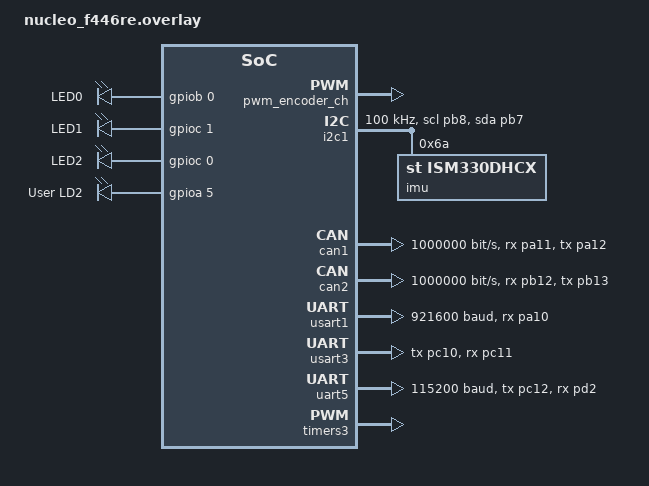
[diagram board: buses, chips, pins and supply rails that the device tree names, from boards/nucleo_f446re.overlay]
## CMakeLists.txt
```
cmake_minimum_required(VERSION 3.20.0)
find_package(Zephyr REQUIRED HINTS $ENV{ZEPHYR_BASE})
project(Testbench)

add_subdirectory(${CMAKE_CURRENT_SOURCE_DIR}/../../core core_build)

target_sources(app PRIVATE src/testbench.cpp)
target_include_directories(app PRIVATE ${CMAKE_CURRENT_SOURCE_DIR}/../../core)

# Otherwise has trouble getting core since it's up a level on the directory
target_link_libraries(app PRIVATE core)
target_compile_definitions(core PRIVATE REF_DEBUG=1)
```

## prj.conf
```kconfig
CONFIG_MAIN_STACK_SIZE=8192

# enable GPIO subsystem
CONFIG_GPIO=y

# SWO logging
CONFIG_LOG=y
CONFIG_LOG_BACKEND_SWO=y
# Logs go to SWO only, not the console UART, will not show in serial monitor
CONFIG_LOG_BACKEND_UART=n
# Route printk through logging (and so to SWO)
CONFIG_LOG_PRINTK=y
# Don't block the 500 Hz control loop
CONFIG_LOG_MODE_DEFERRED=y
# 1.5 MHz, must match the SWO setting in Ozone
CONFIG_LOG_BACKEND_SWO_FREQ_HZ=1500000
# Needed for %f in LOG_* and printk
CONFIG_CBPRINTF_FP_SUPPORT=y

# C++ config
CONFIG_CPP=y
CONFIG_STD_CPP17=y
CONFIG_GLIBCXX_LIBCPP=y

# CAN
CONFIG_CAN=y

# UART
CONFIG_SERIAL=y
CONFIG_UART_INTERRUPT_DRIVEN=y

# I2C
CONFIG_I2C=y
CONFIG_I2C_TARGET=y
# CONFIG_I2C_LOG_LEVEL_DBG=y
CONFIG_ISM330DHCX=n
CONFIG_CBPRINTF_FP_SUPPORT=y

# PWM
CONFIG_PWM=y
CONFIG_PWM_CAPTURE=y
CONFIG_PWM_LOG_LEVEL_DBG=y


# Power Management
CONFIG_PM=n
CONFIG_PM_DEVICE=y

# Asserts
CONFIG_ASSERT=y

CONFIG_HW_STACK_PROTECTION=y
CONFIG_MPU_STACK_GUARD=y

# CONFIG_THREAD_STACK_INFO=y
# CONFIG_THREAD_ANALYZER=y
# CONFIG_THREAD_ANALYZER_AUTO=y
# CONFIG_THREAD_ANALYZER_AUTO_INTERVAL=5

# These will flood your log output with messages. Be aware.
CONFIG_I2C_LOG_LEVEL_ERR=n
CONFIG_CAN_LOG_LEVEL_DBG=n

# CONFIG_SHELL=y
CONFIG_UART_LINE_CTRL=y

CONFIG_HEAP_MEM_POOL_SIZE=8192
```

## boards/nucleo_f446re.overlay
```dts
/* Board default puts I2C2 SDA on PB3, which is the SWO pin. Disable I2C2 so SWO can use PB3. */
&i2c2 {
    status = "disabled";
};

&i2c1 {
    pinctrl-0 = <&i2c1_scl_pb8 &i2c1_sda_pb7>;
    pinctrl-names = "default";
    status = "okay";
    clock-frequency = <100000>;

	scl-gpios = <&gpiob 8 (GPIO_ACTIVE_HIGH | GPIO_OPEN_DRAIN)>;
	sda-gpios = <&gpiob 7 (GPIO_ACTIVE_HIGH | GPIO_OPEN_DRAIN)>;


    imu: ism330@6a {
        compatible = "st,ism330dhcx";
        reg = <0x6a>;
    };
};

&can1 {
    pinctrl-0 = <&can1_rx_pa11 &can1_tx_pa12>;
    pinctrl-names = "default";
    status = "okay";
    bitrate = <1000000>;
};

&can2 {
    pinctrl-0 = <&can2_rx_pb12 &can2_tx_pb13>;
    pinctrl-names = "default";
    status = "okay";
    bitrate = <1000000>;
};

&usart1 { //Controller
    pinctrl-0 = <&usart1_rx_pa10>; // tx isn't connected because this is the controller
    pinctrl-names = "default";
    status = "okay";
    current-speed = <921600>;
};

&usart3 { //Ref
    pinctrl-0 = <&usart3_tx_pc10 &usart3_rx_pc11>;
    pinctrl-names = "default";
    status = "okay";
};

&uart5 {
    pinctrl-0 = <&uart5_tx_pc12 &uart5_rx_pd2>;
    pinctrl-names = "default";
    status = "okay";
    current-speed = <115200>;
};

&timers3 { // Encoder | PWM is done thru timer node, PB_4 is timer3 channel 1
    status = "okay";
    st,prescaler = <3>;   // This decides how coarse the ticks are; see notion for details

    pwm3: pwm {
        compatible = "st,stm32-pwm";
        status = "okay";
        pinctrl-0 = <&tim3_ch1_pb4>;
        pinctrl-names = "default";
        #pwm-cells = <3>;
    };
};

/ {
    pwm_encoder_ch: zephyr,user { //Node has to be named "zephyr,user" so it compiles
        pwms = <&pwm3 1 PWM_MSEC(20) PWM_POLARITY_NORMAL>;
        status = "okay";
    };
};


/* The sigular slash below indicates that we're just making a new node
Unlike the ones above, which were already declared for us in the
root dts file Zephyr has for us, this LED node is specific to us */
/ {
    leds {
        compatible = "gpio-leds";
        led0: led_0 {
            gpios = <&gpiob 0 GPIO_ACTIVE_HIGH>;
            label = "LED0";
        };
        led1: led_1 {
            gpios = <&gpioc 1 GPIO_ACTIVE_HIGH>;
            label = "LED1";
        };
        led2: led_2 {
            gpios = <&gpioc 0 GPIO_ACTIVE_HIGH>;
            label = "LED2";
        };

        LD2: LD_2 {
            gpios = <&gpioa 5 GPIO_ACTIVE_HIGH>;
            label = "User LD2";
        };
    };

    aliases {
        //Left hand side lives in a diff namespace than right hand side
        //So this doesn't break everything I swear
        led0 = &led0;
        led1 = &led1;
        led2 = &led2;
    };
};

  &gpiob {
       status = "okay";
   };

   &gpioc {
       status = "okay";
   };

//    Disabled ones

&i2c3 {
	status = "disabled";
};
```

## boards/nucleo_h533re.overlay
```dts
&fdcan1 {
    status = "okay";
    pinctrl-0 = <&fdcan1_rx_pb8 &fdcan1_tx_pb7>;
    pinctrl-names = "default";
    bitrate = <1000000>;
};

&fdcan2 {
    status = "okay";
    pinctrl-0 = <&fdcan2_rx_pb5 &fdcan2_tx_pb6>;
    pinctrl-names = "default";
    bitrate = <1000000>;
};

&i2c1 {
    pinctrl-0 = <&i2c1_scl_pb8 &i2c1_sda_pb7>;
    pinctrl-names = "default";
    status = "okay";
    clock-frequency = <100000>;

	scl-gpios = <&gpiob 8 (GPIO_ACTIVE_HIGH | GPIO_OPEN_DRAIN)>;
	sda-gpios = <&gpiob 7 (GPIO_ACTIVE_HIGH | GPIO_OPEN_DRAIN)>;


    imu: ism330@6a {
        compatible = "st,ism330dhcx";
        reg = <0x6a>;
    };
};

&usart1 { //Controller
    pinctrl-0 = <&usart1_rx_pa10>; // tx isn't connected because this is the controller
    pinctrl-names = "default";
    status = "okay";
    current-speed = <921600>;
};

&usart3 { //Ref
    pinctrl-0 = <&usart3_tx_pc10 &usart3_rx_pc11>;
    pinctrl-names = "default";
    status = "okay";
};

&uart5 {
    status="okay"
}


&timers3 { // Encoder | PWM is done thru timer node, PB_4 is timer3 channel 1
    status = "okay";
    st,prescaler = <83>;   // tune below

    pwm3: pwm {
        compatible = "st,stm32-pwm";
        status = "okay";
        pinctrl-0 = <&tim3_ch1_pb4>;
        pinctrl-names = "default";
        #pwm-cells = <3>;
    };
};

/ {
    pwm_encoder_ch: zephyr,user { //Node has to be named "zephyr,user" so it compiles
        pwms = <&pwm3 1 PWM_MSEC(20) PWM_POLARITY_NORMAL>;
        status = "okay";
    };
};


/* The sigular slash below indicates that we're just making a new node
Unlike the ones above, which were already declared for us in the
root dts file Zephyr has for us, this LED node is specific to us */
/ {
    leds {
        compatible = "gpio-leds";
        led0: led_0 {
            gpios = <&gpiob 0 GPIO_ACTIVE_HIGH>;
            label = "LED0";
        };
        led1: led_1 {
            gpios = <&gpioc 1 GPIO_ACTIVE_HIGH>;
            label = "LED1";
        };
        led2: led_2 {
            gpios = <&gpioc 0 GPIO_ACTIVE_HIGH>;
            label = "LED2";
        };

        LD2: LD_2 {
            gpios = <&gpioa 5 GPIO_ACTIVE_HIGH>;
            label = "User LD2";
        };
    };

    aliases {
        //Left hand side lives in a diff namespace than right hand side
        //So this doesn't break everything I swear
        led0 = &led0;
        led1 = &led1;
        led2 = &led2;
    };
};

  &gpiob {
       status = "okay";
   };

   &gpioc {
       status = "okay";
   };
```

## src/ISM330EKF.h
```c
/**
* @file ISM330EKF.h
* @brief SPI driver for the ISM330DHCX 6-DoF accelerometer and gyroscope.
*
* This class provides a lightweight interface for communicating with the
* ST ISM330DHCX sensor over SPI using Mbed OS. It supports basic device
* initialization and simple readout of accelerometer and gyroscope data.
*
* The sensor must be externally configured for range, filtering and output
* data rate before sampling values.
*/
#pragma once

#ifndef ISM330EKF_H_
#define ISM330EKF_H_
#include <zephyr/device.h>
#include <zephyr/devicetree.h>
#include <zephyr/drivers/i2c.h>
#include "util/peripherals/imu/IMU.h"
#include <cstdint>

/**
 * @class ISM330
 * @brief Interface class for ISM330DHCX IMU using SPI.
 */
class ISM330 : public IMU {
public:
    // Structs
    typedef struct {
        float x;
        float y;
        float z;
    } ISM330_VECTOR_TypeDef;

    typedef struct {
        int16_t ax;
        int16_t ay;
        int16_t az;
        int16_t gx;
        int16_t gy;
        int16_t gz;
    } ISM330_RAW_DATA_TypeDef;

    typedef struct {
        float ax;
        float ay;
        float az;
        float gx;
        float gy;
        float gz;
    } ISM330_DATA_TypeDef;


    ISM330(const struct i2c_dt_spec &i2c) noexcept;

    /**
    * @brief Initialize communication with the device.
    *
    * Performs basic SPI setup and verifies device presence using the WHO_AM_I
    * register.
    *
    * @return true if the device identifier matches the expected chip ID.
    * @return false if device detection fails.
    */
    bool begin(float prop_gain=0.1f, float int_gain=0.0f) noexcept;

    // /** Deprecated?
    // * @brief Read the WHO_AM_I register value.
    // *
    // * This value should match the documented device ID. Mainly useful for
    // * diagnostics or verifying hardware connectivity.
    // *
    // * @return 8-bit device identifier.
    // */
    // uint8_t whoAmI() noexcept;
    
    /**
    * @brief Issue a software reset to the device.
    *
    * Triggers a soft reset and blocks briefly to allow the device to restart.
    */
    void reset() noexcept;
    
    void calibrate() noexcept; 
    
    IMU::EulerAngles getImuAngles() override;
    
    IMU::EulerAngles read() override { return getImuAngles(); }

   //Full read functions
    //Reads Accel and Gyro sequentially, reduces I2C transactions
    ISM330_RAW_DATA_TypeDef readAGraw() noexcept; //used during calibration

    ISM330_DATA_TypeDef readAG() noexcept;


    // Temperature Reading
    float readTemperature() noexcept; // Returns temp in C-25, so at 25C it should read 0
    // If you're wondering why, it's just how the IMU is calibrated

    float accelTempScale(float temp); // Returns the scaling of the accelerometer with respect to Temperature; At 25C = 0;

    float accelTempOffset(float temp); // Returns the offset of the accelerometer with respect to Temperature; At 25C = 0; (Just adding a constant)

    float gyroTempScale(float temp); // Returns the scaling of the gyro with respect to Temperature; At 25C = 0;

    float gyroTempOffset(float temp); // Returns the offset of the gyro with respect to Temperature; At 25C = 0; (Just adding a constant)

    // Update Structs
    void getAGVectors(ISM330_VECTOR_TypeDef& accel, ISM330_VECTOR_TypeDef& gyro);

    // IMU Sensor Fusion
    void computeAnglesMah(IMU::EulerAngles& angles); // Mahony Compute Euler Angles

    void computeAnglesEKF(IMU::EulerAngles& angles);
    
    // void computeAnglesMadgwick(IMU::EulerAngles& angles);
    
    // Mahony Sensor Fusion
    //Adafruit_Mahony(float prop_gain, float int_gain);
    void mahonyStart(float prop_gain, float int_gain);

    void initQuaternionFromAccel();
    
    void mahonyUpdate(float mx, float my, float mz, float dt);
    
    void mahonyUpdateIMU(float dt);

    //EKF Seneor Fusion

    void ekfStart();
    
    void ekfPredict(float gx, float gy, float gz, float dt);

    void ekfUpdate(float ax, float ay, float az);

    void ekfReset(float dtheta[3], float dbias[3]);

    void quatMul(float out[4], const float a[4], const float b[4]);

    void quatNormalize(float q[4]);

    void QuatFromRotVec(float q[4], const float rv[3]);

    void rotMatFromQuat(float R[3][3], const float q[4]);
    
    // Madgwick Sensor Fusion

    // void madgwickStart(float gain);
    
    // void madgwickUpdate(float mx, float my, float mz, float dt);
    
    // void madgwickUpdateIMU(float dt);

    // Reading individual sensor values
    ISM330_VECTOR_TypeDef readAccel() noexcept;

    ISM330_VECTOR_TypeDef readGyro() noexcept;
    
private:
    struct i2c_dt_spec i2c_;
    uint8_t _address;
    uint8_t whoAmIReading;

    // Raw offsets for accel and gyro
    float axBias;
    float ayBias;
    float azBias;
    float wxBias;
    float wyBias;
    float wzBias;
    
    //Raw I2C readings to actual measurements
    uint8_t agReadings[14]; //Temperature, Accel and Gyro Readings buffer
    uint8_t xReadings[6]; //Accel Readings buffer
    uint8_t gReadings[6]; //Gyro Readings buffer
    float temperature; //Temperature in C-25, so at 25C it should read 0

    void writeReg(const uint8_t *cmd, size_t len) noexcept; //cmd points to some array starting with the register, and then the value(s)
    void readReg(uint8_t reg, uint8_t *out, size_t len) noexcept; 

    ISM330_VECTOR_TypeDef readingToAccel(const uint8_t *readings, float temp);
    
    ISM330_VECTOR_TypeDef readingToGyro(const uint8_t *readings, float temp);
        
    float invSqrt(float x); //Inverse square root, used for normalizing vectors
    
    float beta; // algorithm gain
    float q0;
    float q1;
    float q2;
    float q3; // quaternion of sensor frame relative to auxiliary frame
    float invSampleFreq;
    float grav[3]; // gravity vector 

    //Mahony Quaternions
    float mahq0;
    float mahq1;
    float mahq2;
    float mahq3;

    float twoKp; // 2 * proportional gain (Kp)
    float twoKi; // 2 * integral gain (Ki)
    float integralFBx, integralFBy, integralFBz; // integral error terms scaled by Ki

    //EKF 
    float ekfq0;
    float ekfq1;
    float ekfq2;
    float ekfq3;
    float gyro_bias[3];  // Estimated gyro bias (rad/s)
    float P[6][6];       // Error covariance matrix (6x6)

    //EKF tuning parameters
    float sigma_gyro;    // Gyro noise (rad/s/sqrt(Hz))
    float sigma_bias;    // Bias random walk (rad/s/sqrt(s))
    float sigma_accel;   // Accelerometer noise (m/s^2)


    bool anglesComputed = false; // Flag for whether or not angles have been computed
};

#endif // ISM330EKF_H_
```

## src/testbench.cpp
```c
// #include "stm32f446xx.h"
#include <zephyr/drivers/i2c.h>
#include <zephyr/drivers/pwm.h>
#include <zephyr/kernel.h>
#include <zephyr/drivers/gpio.h>
#include <zephyr/device.h>
#include <zephyr/devicetree.h>
#include <stdio.h>
#include <util/communications/DJIRemote2.h>
#include <util/communications/CANHandler.h>
#include <util/communications/jetson/Jetson.h>
#include <util/peripherals/imu/ISM330.h>
#include <util/algorithms/PID.h>
#include <base_robot/BaseRobot.h>
#include <zephyr/dt-bindings/pwm/pwm.h>



// Devices from DT
const struct gpio_dt_spec led0_dev = GPIO_DT_SPEC_GET(DT_ALIAS(led0), gpios);
const struct gpio_dt_spec led1_dev = GPIO_DT_SPEC_GET(DT_ALIAS(led1), gpios);
const struct gpio_dt_spec led2_dev = GPIO_DT_SPEC_GET(DT_ALIAS(led2), gpios);


static const struct i2c_dt_spec imu_spec = I2C_DT_SPEC_GET(DT_NODELABEL(imu));



IMU::EulerAngles imuAngles;

ISM330 imu_(imu_spec);
bool imu_initialized{false};

double AG[6];

void periodic() {
    imu_.mahonyUpdateIMU(200 / 1000.0);
    imuAngles = imu_.getImuAngles();
  
    // auto imuaccel = imu_.readAccel();
    
    // printk("Accel: %.2f, %.2f, %.2f\n", static_cast<double>(imuaccel.x), static_cast<double>(imuaccel.y), static_cast<double>(imuaccel.z));

    printf("%.2f, %.2f, %.2f\n", static_cast<double>(imuAngles.roll), static_cast<double>(imuAngles.pitch), static_cast<double>(imuAngles.yaw));
}

int main(void)
{
    printk("HELLO\n");


    if (device_is_ready(imu_spec.bus)) {
        printk("IMU device is ready\n");
    } else {
        printk("IMU device is not ready\n");
    }

    i2c_recover_bus(imu_spec.bus);
    imu_.begin(0.9, 0);
    
    while (true) {
        periodic();
        k_sleep(K_MSEC(200));
    }
}
```

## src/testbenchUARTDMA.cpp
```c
/* Jank but working DMA UART check, make sure prj.conf has 
CONFIG_DMA=y
CONFIG_UART_ASYNC_API=y
*/

#include <zephyr/kernel.h>
#include <zephyr/device.h>
#include <zephyr/drivers/uart.h>
#include <zephyr/sys/printk.h>
#include <zephyr/sys/ring_buffer.h>
#include <string.h>

#define REF_NODE   DT_NODELABEL(usart3)
#define CTRL_NODE  DT_NODELABEL(usart1)

static const struct device *const uart_ref  = DEVICE_DT_GET(REF_NODE);
static const struct device *const uart_ctrl = DEVICE_DT_GET(CTRL_NODE);

/* Double-buffered DMA RX buffers for USART1 */
#define RX_BUF_LEN 64
static uint8_t rx_buf_a[RX_BUF_LEN];
static uint8_t rx_buf_b[RX_BUF_LEN];

/* Decouples the fast DMA callback from the slow printk() consumer */
RING_BUF_DECLARE(rx_rb, 512);

int ret;

static void ctrl_uart_cb(const struct device *dev,
                         struct uart_event *evt,
                         void *user_data)
{
    ARG_UNUSED(user_data);

    switch (evt->type) {

    case UART_RX_RDY:
        printk(">>> UART_RX_RDY: offset=%d len=%d\n",
               evt->data.rx.offset,
               evt->data.rx.len);

        /* Keep your existing ring-buffer code */
        ring_buf_put(&rx_rb,
                     &evt->data.rx.buf[evt->data.rx.offset],
                     evt->data.rx.len);
        break;

    case UART_RX_BUF_REQUEST: {
        printk(">>> UART_RX_BUF_REQUEST\n");

        static bool use_a;
        uint8_t *next = use_a ? rx_buf_a : rx_buf_b;

        use_a = !use_a;

        int ret = uart_rx_buf_rsp(dev, next, RX_BUF_LEN);

        printk(">>> uart_rx_buf_rsp() = %d, buffer=%s\n",
               ret,
               (next == rx_buf_a) ? "A" : "B");

        break;
    }

    case UART_RX_BUF_RELEASED:
        printk(">>> UART_RX_BUF_RELEASED: buf=%s\n",
               (evt->data.rx_buf.buf == rx_buf_a) ? "A" : "B");
        break;

    case UART_RX_DISABLED:
        printk(">>> UART_RX_DISABLED\n");
        break;

    default:
        printk(">>> UART event: %d\n", evt->type);
        break;
    }
}


int main(void)
{
	if (!device_is_ready(uart_ref)) {
		printk("USART3 (ref) not ready\n");
		return -1;
	}
	if (!device_is_ready(uart_ctrl)) {
		printk("USART1 (ctrl) not ready\n");
		return -1;
	}

    printk("USART1 name: %s\n", uart_ctrl->name);
    printk("USART1 ready: %d\n", device_is_ready(uart_ctrl));
    printk("USART1 api: %p\n", (void *)uart_ctrl->api);


    ret = uart_callback_set(uart_ctrl, ctrl_uart_cb, NULL);
    printk("uart_callback_set: %d\n", ret);

    ret = uart_rx_enable(uart_ctrl, rx_buf_a, RX_BUF_LEN,
                     50 * USEC_PER_MSEC);
    printk("uart_rx_enable: %d\n", ret);

	const char *msg = "Hello from USART3!\r\n";
	int count = 0;
	uint8_t drain[64];

	while (1) {
		printk("TX -> [%d] %s", count, msg);

		for (const char *p = msg; *p != '\0'; p++) {
			uart_poll_out(uart_ref, *p);
		}
		count++;

		/* Safe to printk here -- we're in thread context, not the DMA callback */
		uint32_t n;

		while ((n = ring_buf_get(&rx_rb, drain, sizeof(drain))) > 0) {
			for (uint32_t i = 0; i < n; i++) {
				printk("RX <- 0x%02x ('%c')\n", drain[i],
				       (drain[i] >= 32 && drain[i] < 127) ? drain[i] : '.');
			}
		}

		k_sleep(K_MSEC(1000));
	}

	return 0;
}
```

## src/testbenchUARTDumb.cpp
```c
// Remember to Edit prj.conf and make sure CONFIG_UART_INTERRUPT_DRIVEN=y
```
